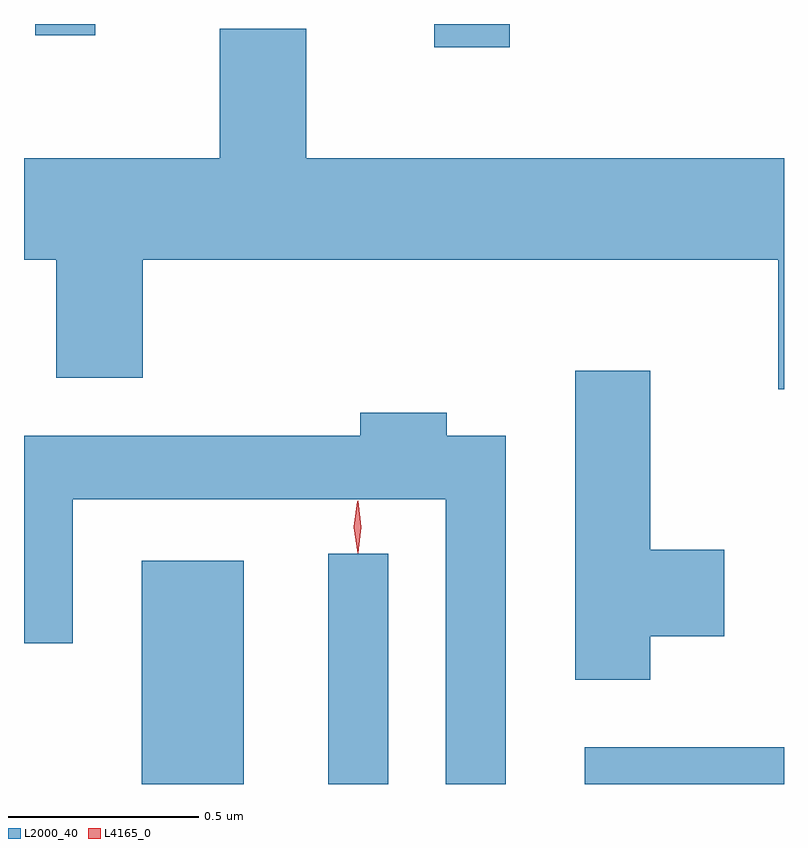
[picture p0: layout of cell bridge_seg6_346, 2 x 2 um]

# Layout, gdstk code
import gdstk
lib = gdstk.Library(unit=1e-6, precision=1e-09)
def R(c, l, rs):  # rectangles x0, y0, x1, y1
    for r in rs: c.add(gdstk.rectangle(r[:2], r[2:], *l))
def P(c, l, *ps):  # polygons
    for p in ps: c.add(gdstk.Polygon(p, *l))
L2000_40 = (2000, 40)
L4165_0 = (4165, 0)

bridge_seg6_346 = lib.new_cell('bridge_seg6_346')
R(bridge_seg6_346, L2000_40, [(1316.386,1537.557,1316.654,1538.144), (1316.876,1537.557,1317.034,1538.163), (1317.551,1537.557,1318.076,1537.654), (1317.156,1539.496,1317.354,1539.557), (1316.106,1539.528,1316.264,1539.557)])
P(bridge_seg6_346, L2000_40, [(1318.076,1539.204),(1316.819,1539.204),(1316.819,1539.544),(1316.591,1539.544),(1316.591,1539.204),(1316.076,1539.204),(1316.076,1538.936),(1316.161,1538.936),(1316.161,1538.626),(1316.389,1538.626),(1316.389,1538.936),(1318.061,1538.936),(1318.061,1538.596),(1318.076,1538.596)],
  [(1317.724,1537.946),(1317.919,1537.946),(1317.919,1538.174),(1317.724,1538.174),(1317.724,1538.644),(1317.526,1538.644),(1317.526,1537.831),(1317.724,1537.831)],
  [(1317.344,1538.474),(1317.189,1538.474),(1317.189,1538.534),(1316.961,1538.534),(1316.961,1538.474),(1316.076,1538.474),(1316.076,1537.928),(1316.204,1537.928),(1316.204,1538.306),(1317.186,1538.306),(1317.186,1537.557),(1317.344,1537.557)])
P(bridge_seg6_346, L4165_0, [(1316.954,1538.167),(1316.954,1538.167),(1316.944,1538.234),(1316.953,1538.3),(1316.954,1538.3),(1316.954,1538.3),(1316.964,1538.234),(1316.954,1538.167)],
  [(1316.954,1538.164),(1316.954,1538.164),(1316.944,1538.233),(1316.954,1538.302),(1316.954,1538.303),(1316.955,1538.302),(1316.964,1538.233),(1316.955,1538.164)])

lib.write_gds('bridge_seg6_346.gds')
